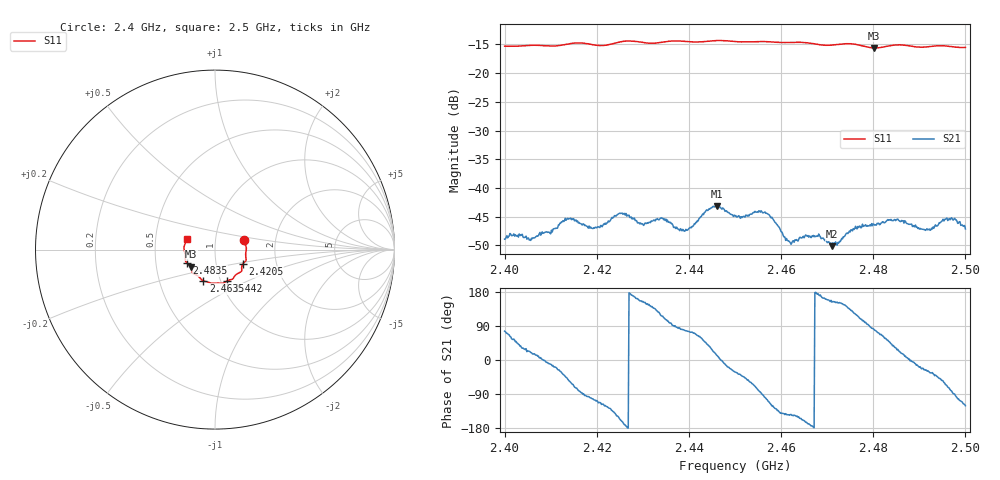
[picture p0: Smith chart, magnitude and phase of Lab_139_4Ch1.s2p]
# Hz S RI R 50
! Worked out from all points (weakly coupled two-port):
!   601 points, 2.4 GHz to 2.5 GHz, reference 50 ohm
!   highest |S21| = -43.15 dB at 2.4462 GHz (marker M1); lowest = -50.1 dB at 2.471 GHz (marker M2)
!   lowest |S11| = -15.6 dB at 2.4802 GHz (marker M3), VSWR 1.40, Z = 37.4 - j7.32 ohm
!   |S11| at or under -10 dB: start of sweep to end of sweep
!   S12 and S22 are empty: the file has one direction only
!   S11 on the Smith chart (normalised r, x): 2.4 GHz: 1.38, +0.15; 2.4205 GHz: 1.35, -0.22; 2.442 GHz: 1.08, -0.39; 2.4635 GHz: 0.83, -0.30; 2.4835 GHz: 0.72, -0.11; 2.5 GHz: 0.72, +0.09
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2.4e9  0.1637 0.0519  0.00085 0.00348  0 0  0 0
2.405833e9  0.1745 0.0108  0.00345 0.0012  0 0  0 0
2.413667e9  0.1727 -0.0475  0.00349 -0.00417  0 0  0 0
2.416667e9  0.1722 -0.0624  0.000286 -0.00485  0 0  0 0
2.4205e9  0.155 -0.0795  -0.00169 -0.00422  0 0  0 0
2.425e9  0.1489 -0.1133  -0.00553 -0.00244  0 0  0 0
2.433333e9  0.1093 -0.1479  -0.00315 0.00427  0 0  0 0
2.439e9  0.0897 -0.1668  0.000828 0.00412  0 0  0 0
2.442e9  0.0692 -0.1736  0.00226 0.00464  0 0  0 0
2.446167e9  0.0464 -0.1869  0.00682 0.00135  0 0  0 0
2.45e9  0.0264 -0.1868  0.00487 -0.00302  0 0  0 0
2.456833e9  -0.0204 -0.187  -0.00139 -0.00587  0 0  0 0
2.4615e9  -0.0535 -0.1771  -0.00281 -0.00201  0 0  0 0
2.4635e9  -0.0655 -0.174  -0.00297 -0.00184  0 0  0 0
2.466667e9  -0.0776 -0.1641  -0.00379 -0.000453  0 0  0 0
2.471e9  -0.1042 -0.141  -0.00277 0.00143  0 0  0 0
2.480167e9  -0.1358 -0.0951  0.000799 0.00475  0 0  0 0
2.483333e9  -0.1555 -0.0748  0.00341 0.00397  0 0  0 0
2.4835e9  -0.1564 -0.0743  0.00353 0.00394  0 0  0 0
2.491833e9  -0.1694 -0.00999  0.00381 -0.00202  0 0  0 0
2.497333e9  -0.1665 0.0324  0.000139 -0.00524  0 0  0 0
2.5e9  -0.1569 0.0593  -0.00224 -0.00378  0 0  0 0
